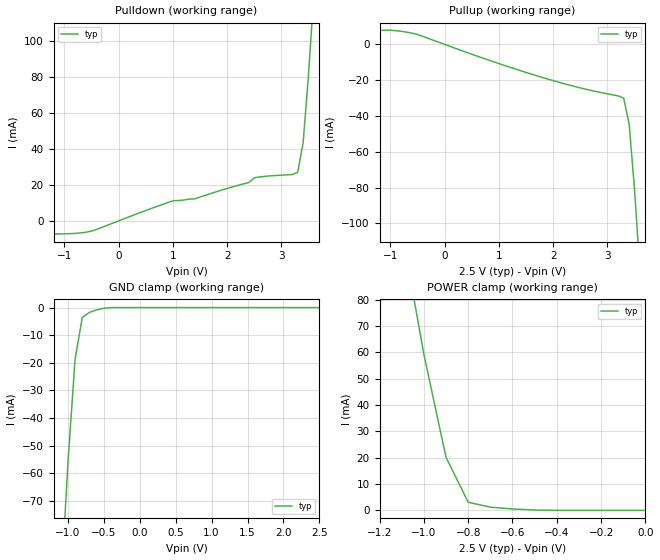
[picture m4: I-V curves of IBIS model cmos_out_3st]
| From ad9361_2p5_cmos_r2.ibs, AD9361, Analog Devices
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[model] cmos_out_3st
Model_type 3-state
Cref  =   3.000pF
Rref  =   10kOhm
Vref  =   2.5V
Vmeas =   2.3V
C_comp   4pF   NA   NA
[Voltage Range]   2.500V  NA   NA
[GND Clamp Reference]   0.000V  NA   NA
[POWER Clamp Reference] 2.500V  NA   NA
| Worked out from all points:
|   slope of the pulldown table from 0 to 0.375 V, typ, clamps not added: 86.2 ohm
|   slope of the pullup table from 0 to 0.375 V, typ, clamps not added: 91.1 ohm
|   GND clamp passes 1 mA (typ) near -0.62 V on its own axis
|   POWER clamp passes 1 mA (typ) near -0.67 V on its own axis
[GND Clamp]
| Voltage  I(typ)   I(min)  I(max)
-2.5V     -857.6mA   NA         NA
-1.1V     -103.1mA   NA         NA
-1V       -56.47mA   NA         NA
-900mV    -18.66mA   NA         NA
-800mV    -3.584mA   NA         NA
-700mV    -1.725mA   NA         NA
-500mV    -242.9uA   NA         NA
-400mV    -23.56uA   NA         NA
2.5V      90pA       NA         NA
[POWER Clamp]
| Voltage  I(typ)   I(min)  I(max)
-2.5V     862.9mA    NA         NA
-1.1V     106.5mA    NA         NA
-1V       59.26mA    NA         NA
-900mV    20.15mA    NA         NA
-800mV    3.092mA    NA         NA
-700mV    1.208mA    NA         NA
-500mV    127uA      NA         NA
0V        90pA       NA         NA
[Pulldown]
| Voltage  I(typ)   I(min)  I(max)
-2.5V     -3.122mA   NA         NA
-1.3V     -7.208mA   NA         NA
-600mV    -6.316mA   NA         NA
1V        11.21mA    NA         NA
1.4V      12.25mA    NA         NA
2.4V      21.4mA     NA         NA
2.5V      24.01mA    NA         NA
3.3V      27.12mA    NA         NA
3.4V      43.47mA    NA         NA
3.5V      81.75mA    NA         NA
3.6V      127.9mA    NA         NA
5V        868.8mA    NA         NA
[Pullup]
| Voltage  I(typ)   I(min)  I(max)
-2.5V     3.359mA    NA         NA
-1.2V     7.814mA    NA         NA
-900mV    7.685mA    NA         NA
-600mV    6.302mA    NA         NA
1.7V      -17.53mA   NA         NA
2.5V      -24.29mA   NA         NA
3.2V      -28.75mA   NA         NA
3.3V      -30.07mA   NA         NA
3.4V      -44.47mA   NA         NA
3.5V      -81.48mA   NA         NA
3.6V      -127.2mA   NA         NA
5V        -866.4mA   NA         NA
[Ramp]
|   typ   min   max
dV/dt_r   1.625V/.111ns   NA   NA
dV/dt_f   1.625V/.106ns   NA   NA
R_load=10k
|----------------End of cmos_out_3st Model-----------------*******-----------
